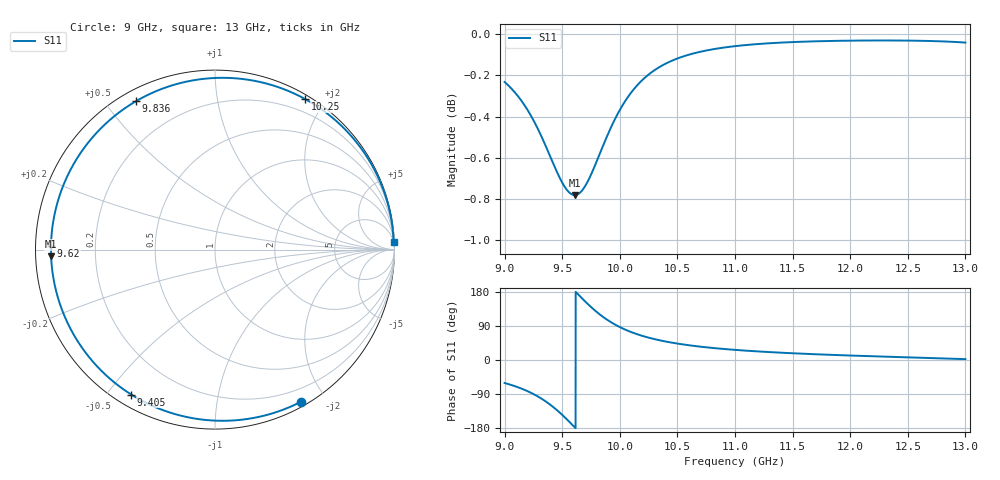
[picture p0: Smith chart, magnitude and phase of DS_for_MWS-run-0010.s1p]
! TOUCHSTONE file generated by CST DESIGN STUDIO
! Date and time: Tue Feb  4 14:31:39 2025
! Project name: C:\Work\MatlabApps\UnitCellOptimizationMatlab\CST\unitcell.cst
! Tree item: Tasks\Sweep1\SPara1\S-Parameters
! Header version: 2024
! Port assignment regex: !\s*Touchstone port\s*([0-9]+)\s*=\s*(CST MWS port|CST DES external port|CST DES block port)\s*(.+)\s* \(\"(.*)\"\)(\s*mode\s*([0-9]+))?.*
! Touchstone port assignment:
! Touchstone port 1 = CST DES external port 1 ("")
# GHz S MA R 50
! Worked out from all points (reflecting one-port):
!   4001 points, 9 GHz to 13 GHz, reference 50 ohm
!   lowest |S11| = -0.8 dB at 9.609 GHz (marker M1), VSWR 22.24, Z = 2.25 - j0.992 ohm
!   phase of S11 starts at -61 deg and turns -297 deg over the sweep
!   S11 on the Smith chart (normalised r, x): 9 GHz: 0.05, -1.71; 9.405 GHz: 0.05, -0.58; 9.62 GHz: 0.04, +0.01; 9.836 GHz: 0.04, +0.60; 10.25 GHz: 0.05, +1.76; 13 GHz: 6, +49
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9  0.9737 -60.7
9.055  0.9703 -65.6
9.127  0.9651 -73.2
9.19  0.9594 -81.0
9.251  0.953 -89.9
9.333  0.9427 -104.4
9.405  0.9326 -120.0
9.453  0.926 -131.9
9.5  0.9203 -144.8
9.557  0.9155 -161.6
9.609  0.914 -177.7
9.62  0.914 178.8
9.676  0.9166 161.5
9.737  0.9228 143.5
9.786  0.9294 130.2
9.836  0.9368 117.9
9.912  0.9477 101.9
10  0.9585 86.9
10.118  0.9695 71.5
10.248  0.9776 59.1
10.365  0.9826 50.8
10.5  0.9865 43.3
10.72  0.9906 34.5
11  0.9934 26.7
11.5  0.9957 17.8
12  0.9964 11.8
12.5  0.9965 7.0
13  0.9954 2.3
